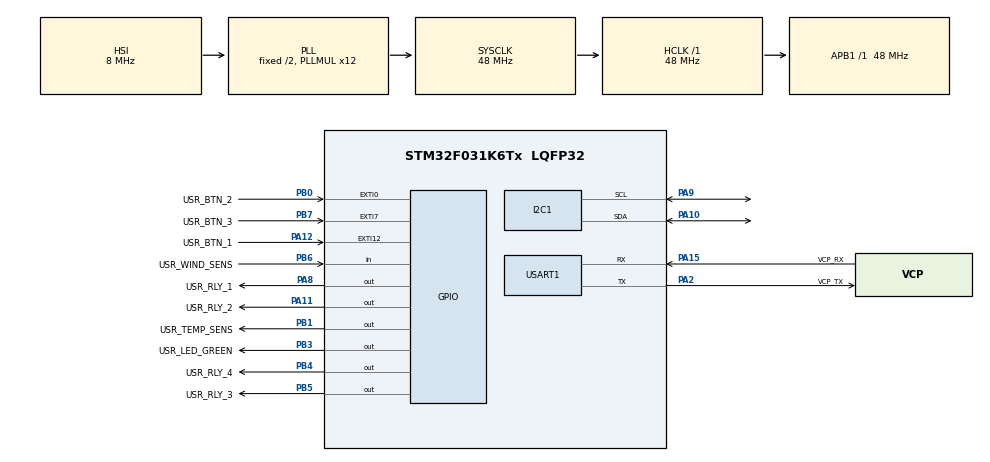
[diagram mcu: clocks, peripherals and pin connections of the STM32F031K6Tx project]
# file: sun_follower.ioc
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Mcu.Family=STM32F0
Mcu.Name=STM32F031K6Tx
Mcu.Package=LQFP32
NVIC.EXTI0_1_IRQn=true\:0\:0\:false\:false\:true\:true\:true\:true
NVIC.EXTI4_15_IRQn=true\:0\:0\:false\:false\:true\:true\:true\:true
NVIC.TIM16_IRQn=true\:0\:0\:false\:false\:true\:true\:true\:true
NVIC.TIM17_IRQn=true\:0\:0\:false\:false\:true\:true\:true\:true
NVIC.USART1_IRQn=true\:0\:0\:false\:false\:true\:true\:true\:true
PA10.Mode=I2C
PA10.Signal=I2C1_SDA
PA11.GPIO_Label=USR_RLY_2
PA11.Signal=GPIO_Output
PA12.GPIO_Label=USR_BTN_1
PA12.GPIO_ModeDefaultEXTI=GPIO_MODE_IT_RISING_FALLING
PA12.GPIO_PuPd=GPIO_PULLUP
PA12.Signal=GPXTI12
PA13.Mode=Serial_Wire
PA13.Signal=SYS_SWDIO
PA14.Mode=Serial_Wire
PA14.Signal=SYS_SWCLK
PA15.GPIO_Label=VCP_RX
PA15.Mode=Asynchronous
PA15.Signal=USART1_RX
PA2.GPIO_Label=VCP_TX
PA2.Mode=Asynchronous
PA2.Signal=USART1_TX
PA8.GPIO_Label=USR_RLY_1
PA8.GPIO_ModeDefaultOutputPP=GPIO_MODE_OUTPUT_PP
PA8.Signal=GPIO_Output
PA9.Mode=I2C
PA9.Signal=I2C1_SCL
PB0.GPIO_Label=USR_BTN_2
PB0.GPIO_ModeDefaultEXTI=GPIO_MODE_IT_RISING_FALLING
PB0.GPIO_PuPd=GPIO_PULLUP
PB0.Signal=GPXTI0
PB1.GPIO_Label=USR_TEMP_SENS
PB1.GPIO_PuPd=GPIO_PULLUP
PB1.GPIO_Speed=GPIO_SPEED_FREQ_HIGH
PB1.Signal=GPIO_Output
PB3.GPIO_Label=USR_LED_GREEN
PB3.Signal=GPIO_Output
PB4.GPIO_Label=USR_RLY_4
PB4.Signal=GPIO_Output
PB5.GPIO_Label=USR_RLY_3
PB5.Signal=GPIO_Output
PB6.GPIO_Label=USR_WIND_SENS
PB6.GPIO_PuPd=GPIO_PULLUP
PB6.Signal=GPIO_Input
PB7.GPIO_Label=USR_BTN_3
PB7.GPIO_ModeDefaultEXTI=GPIO_MODE_IT_RISING_FALLING
PB7.GPIO_PuPd=GPIO_PULLUP
PB7.Signal=GPXTI7
PF0-OSC_IN.Mode=HSE-External-Clock-Source
PF0-OSC_IN.Signal=RCC_OSC_IN
ProjectManager.HeapSize=0x200
ProjectManager.StackSize=0x400
ProjectManager.TargetToolchain=STM32CubeIDE
RCC.AHBFreq_Value=48000000
RCC.APB1Freq_Value=48000000
RCC.APB1TimFreq_Value=48000000
RCC.HCLKFreq_Value=48000000
RCC.PLLMUL=RCC_PLL_MUL12
RCC.SYSCLKFreq_VALUE=48000000
RCC.SYSCLKSource=RCC_SYSCLKSOURCE_PLLCLK
TIM16.Period=1000-1
TIM16.Prescaler=48000-1
TIM16.RepetitionCounter=0
TIM17.Period=60000-1
TIM17.Prescaler=48000-1
TIM17.RepetitionCounter=5-1
USART1.VirtualMode-Asynchronous=VM_ASYNC
VP_TIM16_VS_ClockSourceINT.Mode=Enable_Timer
VP_TIM17_VS_ClockSourceINT.Mode=Enable_Timer
board=NUCLEO-F031K6

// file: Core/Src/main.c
/* USER CODE BEGIN Header */
/**
 ******************************************************************************
 * @file           : main.c
 * @brief          : Main program body
 ******************************************************************************
 * @attention
 *
 * Copyright (c) 2023 STMicroelectronics.
 * All rights reserved.
 *
 * This software is licensed under terms that can be found in the LICENSE file
 * in the root directory of this software component.
 * If no LICENSE file comes with this software, it is provided AS-IS.
 *
 ******************************************************************************
 */
/* USER CODE END Header */
#include "main.h"

/* USER CODE BEGIN Includes */
#include <string.h>

#include "ds3231.h"
#include "gy271.h"
#include "itoa.h"
#include "sun_prediction.h"

/* USER CODE END Includes */

I2C_HandleTypeDef hi2c1;

TIM_HandleTypeDef htim16;
TIM_HandleTypeDef htim17;

UART_HandleTypeDef huart1;

/* USER CODE BEGIN PV */
ts ds3231_data;

/* USER CODE END PV */

void SystemClock_Config(void);
static void MX_GPIO_Init(void);
static void MX_I2C1_Init(void);
static void MX_USART1_UART_Init(void);
static void MX_TIM16_Init(void);
static void MX_TIM17_Init(void);

/* USER CODE BEGIN 0 */
uint8_t recvd_data;
int sun_angle;

/* USER CODE END 0 */

int main(void)
{

  /* MCU Configuration--------------------------------------------------------*/

  /* Reset of all peripherals, Initializes the Flash interface and the Systick. */
  HAL_Init();

  /* USER CODE BEGIN Init */
#ifdef SET_TIME_ENABLE
  ds3231_data.sec = SECONDS;
  ds3231_data.min = MINUTES;
  ds3231_data.hour = HOURS;
  ds3231_data.mday = DAYS;
  ds3231_data.mon = MONTHS;
  ds3231_data.year = YEARS;
#endif

  /* USER CODE END Init */

  /* Configure the system clock */
  SystemClock_Config();

  /* Initialize all configured peripherals */
  MX_GPIO_Init();
  MX_I2C1_Init();
  MX_USART1_UART_Init();
  MX_TIM16_Init();
  MX_TIM17_Init();
  /* USER CODE BEGIN 2 */
#ifdef SET_TIME_ENABLE
  Set_Time(ds3231_data, &hi2c1);
#endif
  Setup_Compass(&hi2c1);
  HAL_TIM_Base_Start_IT(&htim16);
  HAL_TIM_Base_Start_IT(&htim17);
  HAL_UART_Receive_IT(&huart1, &recvd_data, 1);
  //Compass_Data_Ready(&hi2c1);
  //Compass_x_read(&hi2c1);
  //Compass_y_read(&hi2c1);
  //Compass_z_read(&hi2c1);

  /* USER CODE END 2 */

  /* Infinite loop */
  while (1) {

  }
}

void SystemClock_Config(void)
{
  RCC_OscInitTypeDef RCC_OscInitStruct = {0};
  RCC_ClkInitTypeDef RCC_ClkInitStruct = {0};
  RCC_PeriphCLKInitTypeDef PeriphClkInit = {0};

  /** Initializes the RCC Oscillators according to the specified parameters
  * in the RCC_OscInitTypeDef structure.
  */
  RCC_OscInitStruct.OscillatorType = RCC_OSCILLATORTYPE_HSI;
  RCC_OscInitStruct.HSIState = RCC_HSI_ON;
  RCC_OscInitStruct.HSICalibrationValue = RCC_HSICALIBRATION_DEFAULT;
  RCC_OscInitStruct.PLL.PLLState = RCC_PLL_ON;
  RCC_OscInitStruct.PLL.PLLSource = RCC_PLLSOURCE_HSI;
  RCC_OscInitStruct.PLL.PLLMUL = RCC_PLL_MUL12;
  RCC_OscInitStruct.PLL.PREDIV = RCC_PREDIV_DIV1;
  if (HAL_RCC_OscConfig(&RCC_OscInitStruct) != HAL_OK)
  {
    Error_Handler();
  }

  /** Initializes the CPU, AHB and APB buses clocks
  */
  RCC_ClkInitStruct.ClockType = RCC_CLOCKTYPE_HCLK|RCC_CLOCKTYPE_SYSCLK
                              |RCC_CLOCKTYPE_PCLK1;
  RCC_ClkInitStruct.SYSCLKSource = RCC_SYSCLKSOURCE_PLLCLK;
  RCC_ClkInitStruct.AHBCLKDivider = RCC_SYSCLK_DIV1;
  RCC_ClkInitStruct.APB1CLKDivider = RCC_HCLK_DIV1;

  if (HAL_RCC_ClockConfig(&RCC_ClkInitStruct, FLASH_LATENCY_1) != HAL_OK)
  {
    Error_Handler();
  }
  PeriphClkInit.PeriphClockSelection = RCC_PERIPHCLK_USART1|RCC_PERIPHCLK_I2C1;
  PeriphClkInit.Usart1ClockSelection = RCC_USART1CLKSOURCE_PCLK1;
  PeriphClkInit.I2c1ClockSelection = RCC_I2C1CLKSOURCE_HSI;
  if (HAL_RCCEx_PeriphCLKConfig(&PeriphClkInit) != HAL_OK)
  {
    Error_Handler();
  }
}

static void MX_I2C1_Init(void)
{

  hi2c1.Instance = I2C1;
  hi2c1.Init.Timing = 0x2000090E;
  hi2c1.Init.OwnAddress1 = 0;
  hi2c1.Init.AddressingMode = I2C_ADDRESSINGMODE_7BIT;
  hi2c1.Init.DualAddressMode = I2C_DUALADDRESS_DISABLE;
  hi2c1.Init.OwnAddress2 = 0;
  hi2c1.Init.OwnAddress2Masks = I2C_OA2_NOMASK;
  hi2c1.Init.GeneralCallMode = I2C_GENERALCALL_DISABLE;
  hi2c1.Init.NoStretchMode = I2C_NOSTRETCH_DISABLE;
  if (HAL_I2C_Init(&hi2c1) != HAL_OK)
  {
    Error_Handler();
  }

  /** Configure Analogue filter
  */
  if (HAL_I2CEx_ConfigAnalogFilter(&hi2c1, I2C_ANALOGFILTER_ENABLE) != HAL_OK)
  {
    Error_Handler();
  }

  /** Configure Digital filter
  */
  if (HAL_I2CEx_ConfigDigitalFilter(&hi2c1, 0) != HAL_OK)
  {
    Error_Handler();
  }

}

static void MX_TIM16_Init(void)
{

  htim16.Instance = TIM16;
  htim16.Init.Prescaler = 48000-1;
  htim16.Init.CounterMode = TIM_COUNTERMODE_UP;
  htim16.Init.Period = 1000-1;
  htim16.Init.ClockDivision = TIM_CLOCKDIVISION_DIV1;
  htim16.Init.RepetitionCounter = 0;
  htim16.Init.AutoReloadPreload = TIM_AUTORELOAD_PRELOAD_DISABLE;
  if (HAL_TIM_Base_Init(&htim16) != HAL_OK)
  {
    Error_Handler();
  }

}

static void MX_TIM17_Init(void)
{

  htim17.Instance = TIM17;
  htim17.Init.Prescaler = 48000-1;
  htim17.Init.CounterMode = TIM_COUNTERMODE_UP;
  htim17.Init.Period = 60000-1;
  htim17.Init.ClockDivision = TIM_CLOCKDIVISION_DIV1;
  htim17.Init.RepetitionCounter = 5-1;
  htim17.Init.AutoReloadPreload = TIM_AUTORELOAD_PRELOAD_DISABLE;
  if (HAL_TIM_Base_Init(&htim17) != HAL_OK)
  {
    Error_Handler();
  }

}

static void MX_USART1_UART_Init(void)
{

  huart1.Instance = USART1;
  huart1.Init.BaudRate = 38400;
  huart1.Init.WordLength = UART_WORDLENGTH_8B;
  huart1.Init.StopBits = UART_STOPBITS_1;
  huart1.Init.Parity = UART_PARITY_NONE;
  huart1.Init.Mode = UART_MODE_TX_RX;
  huart1.Init.HwFlowCtl = UART_HWCONTROL_NONE;
  huart1.Init.OverSampling = UART_OVERSAMPLING_16;
  huart1.Init.OneBitSampling = UART_ONE_BIT_SAMPLE_DISABLE;
  huart1.AdvancedInit.AdvFeatureInit = UART_ADVFEATURE_NO_INIT;
  if (HAL_UART_Init(&huart1) != HAL_OK)
  {
    Error_Handler();
  }

}

static void MX_GPIO_Init(void)
{
  GPIO_InitTypeDef GPIO_InitStruct = {0};

  /* GPIO Ports Clock Enable */
  __HAL_RCC_GPIOF_CLK_ENABLE();
  __HAL_RCC_GPIOA_CLK_ENABLE();
  __HAL_RCC_GPIOB_CLK_ENABLE();

  /*Configure GPIO pin Output Level */
  HAL_GPIO_WritePin(GPIOB, USR_TEMP_SENS_Pin|USR_LED_GREEN_Pin|USR_RLY_4_Pin|USR_RLY_3_Pin, GPIO_PIN_RESET);

  /*Configure GPIO pin Output Level */
  HAL_GPIO_WritePin(GPIOA, USR_RLY_1_Pin|USR_RLY_2_Pin, GPIO_PIN_RESET);

  /*Configure GPIO pins : USR_BTN_2_Pin USR_BTN_3_Pin */
  GPIO_InitStruct.Pin = USR_BTN_2_Pin|USR_BTN_3_Pin;
  GPIO_InitStruct.Mode = GPIO_MODE_IT_RISING_FALLING;
  GPIO_InitStruct.Pull = GPIO_PULLUP;
  HAL_GPIO_Init(GPIOB, &GPIO_InitStruct);

  /*Configure GPIO pin : USR_TEMP_SENS_Pin */
  GPIO_InitStruct.Pin = USR_TEMP_SENS_Pin;
  GPIO_InitStruct.Mode = GPIO_MODE_OUTPUT_PP;
  GPIO_InitStruct.Pull = GPIO_PULLUP;
  GPIO_InitStruct.Speed = GPIO_SPEED_FREQ_HIGH;
  HAL_GPIO_Init(USR_TEMP_SENS_GPIO_Port, &GPIO_InitStruct);

  /*Configure GPIO pins : USR_RLY_1_Pin USR_RLY_2_Pin */
  GPIO_InitStruct.Pin = USR_RLY_1_Pin|USR_RLY_2_Pin;
  GPIO_InitStruct.Mode = GPIO_MODE_OUTPUT_PP;
  GPIO_InitStruct.Pull = GPIO_NOPULL;
  GPIO_InitStruct.Speed = GPIO_SPEED_FREQ_LOW;
  HAL_GPIO_Init(GPIOA, &GPIO_InitStruct);

  /*Configure GPIO pin : USR_BTN_1_Pin */
  GPIO_InitStruct.Pin = USR_BTN_1_Pin;
  GPIO_InitStruct.Mode = GPIO_MODE_IT_RISING_FALLING;
  GPIO_InitStruct.Pull = GPIO_PULLUP;
  HAL_GPIO_Init(USR_BTN_1_GPIO_Port, &GPIO_InitStruct);

  /*Configure GPIO pins : USR_LED_GREEN_Pin USR_RLY_4_Pin USR_RLY_3_Pin */
  GPIO_InitStruct.Pin = USR_LED_GREEN_Pin|USR_RLY_4_Pin|USR_RLY_3_Pin;
  GPIO_InitStruct.Mode = GPIO_MODE_OUTPUT_PP;
  GPIO_InitStruct.Pull = GPIO_NOPULL;
  GPIO_InitStruct.Speed = GPIO_SPEED_FREQ_LOW;
  HAL_GPIO_Init(GPIOB, &GPIO_InitStruct);

  /*Configure GPIO pin : USR_WIND_SENS_Pin */
  GPIO_InitStruct.Pin = USR_WIND_SENS_Pin;
  GPIO_InitStruct.Mode = GPIO_MODE_INPUT;
  GPIO_InitStruct.Pull = GPIO_PULLUP;
  HAL_GPIO_Init(USR_WIND_SENS_GPIO_Port, &GPIO_InitStruct);

  /* EXTI interrupt init*/
  HAL_NVIC_SetPriority(EXTI0_1_IRQn, 0, 0);
  HAL_NVIC_EnableIRQ(EXTI0_1_IRQn);

  HAL_NVIC_SetPriority(EXTI4_15_IRQn, 0, 0);
  HAL_NVIC_EnableIRQ(EXTI4_15_IRQn);

/* USER CODE BEGIN MX_GPIO_Init_2 */
  HAL_GPIO_WritePin(GPIOB, USR_RLY_4_Pin | USR_RLY_3_Pin, GPIO_PIN_SET);
  HAL_GPIO_WritePin(GPIOA, USR_RLY_1_Pin | USR_RLY_2_Pin, GPIO_PIN_SET);
/* USER CODE END MX_GPIO_Init_2 */
}

/* USER CODE BEGIN 4 */

void HAL_TIM_PeriodElapsedCallback(TIM_HandleTypeDef* htim) {
  if (htim == &htim16) {
    HAL_GPIO_TogglePin(GPIOB, USR_LED_GREEN_Pin);
    Get_Time(&ds3231_data, &hi2c1);
  }
  if (htim == &htim17) {
	HAL_UART_Transmit(&huart1, (uint8_t*)"five!\n\r", 7, 1000);
	sun_angle = sun_azimut(ds3231_data.year, ds3231_data.mon, ds3231_data.mday, ds3231_data.hour, ds3231_data.min);
  }
}

void HAL_GPIO_EXTI_Callback(uint16_t GPIO_Pin) {
  if (GPIO_Pin == USR_BTN_1_Pin) {
    switch (HAL_GPIO_ReadPin(USR_BTN_1_GPIO_Port, USR_BTN_1_Pin)) {
      case GPIO_PIN_RESET:
        HAL_GPIO_WritePin(GPIOA, USR_RLY_1_Pin, GPIO_PIN_RESET);
        break;
      case GPIO_PIN_SET:
        HAL_GPIO_WritePin(GPIOA, USR_RLY_1_Pin, GPIO_PIN_SET);
        break;
      default:
        break;
    }
  }
  if (GPIO_Pin == USR_BTN_2_Pin) {
    switch (HAL_GPIO_ReadPin(USR_BTN_2_GPIO_Port, USR_BTN_2_Pin)) {
      case GPIO_PIN_RESET:
        HAL_GPIO_WritePin(GPIOA, USR_RLY_2_Pin, GPIO_PIN_RESET);
        break;
      case GPIO_PIN_SET:
        HAL_GPIO_WritePin(GPIOA, USR_RLY_2_Pin, GPIO_PIN_SET);
        break;
      default:
        break;
    }
  }
}

void USART1_IRQHandler(void) {
  char msg[15];
  HAL_UART_IRQHandler(&huart1);

  switch (recvd_data) {
    case 'l':
      HAL_GPIO_TogglePin(GPIOB, USR_LED_GREEN_Pin);
      break;
    case 't':
      HAL_UART_Transmit(&huart1, (uint8_t*)"time:\n\r", 7, 1000);
      if (Get_Time(&ds3231_data, &hi2c1) == 0xFF) {
        HAL_UART_Transmit(&huart1, (uint8_t*)"error!\n\r", 8, 1000);
      } else {
        memset(msg, 0, 15);
        itoa(ds3231_data.hour, msg, 10);
        HAL_UART_Transmit(&huart1, (uint8_t*)msg, sizeof(msg), 1000);
        HAL_UART_Transmit(&huart1, (uint8_t*)":", 1, 1000);
        memset(msg, 0, 15);
        itoa(ds3231_data.min, msg, 10);
        HAL_UART_Transmit(&huart1, (uint8_t*)msg, sizeof(msg), 1000);
        HAL_UART_Transmit(&huart1, (uint8_t*)":", 1, 1000);
        memset(msg, 0, 15);
        itoa(ds3231_data.sec, msg, 10);
        HAL_UART_Transmit(&huart1, (uint8_t*)msg, sizeof(msg), 1000);
        HAL_UART_Transmit(&huart1, (uint8_t*)"\n\r", 2, 1000);
      }
      break;
    case 'd':
      HAL_UART_Transmit(&huart1, (uint8_t*)"date:\n\r", 7, 1000);
      if (Get_Time(&ds3231_data, &hi2c1) == 0xFF) {
        HAL_UART_Transmit(&huart1, (uint8_t*)"error!\n\r", 8, 1000);
      } else {
        memset(msg, 0, 15);
        itoa(ds3231_data.year, msg, 10);
        HAL_UART_Transmit(&huart1, (uint8_t*)msg, sizeof(msg), 1000);
        HAL_UART_Transmit(&huart1, (uint8_t*)"-", 1, 1000);
        memset(msg, 0, 15);
        itoa(ds3231_data.mon, msg, 10);
        HAL_UART_Transmit(&huart1, (uint8_t*)msg, sizeof(msg), 1000);
        HAL_UART_Transmit(&huart1, (uint8_t*)"-", 1, 1000);
        memset(msg, 0, 15);
        itoa(ds3231_data.mday, msg, 10);
        HAL_UART_Transmit(&huart1, (uint8_t*)msg, sizeof(msg), 1000);
        HAL_UART_Transmit(&huart1, (uint8_t*)"\n\r", 2, 1000);
      }
      break;
    case 's':
      HAL_UART_Transmit(&huart1, (uint8_t*)"sun angle:\n\r", 12, 1000);
      memset(msg, 0, 15);
      itoa(sun_angle, msg, 10);
      HAL_UART_Transmit(&huart1, (uint8_t*)msg, sizeof(msg), 1000);
      HAL_UART_Transmit(&huart1, (uint8_t*)"\n\r", 2, 1000);
      break;
    case 'x':
      if(Compass_Data_Ready(&hi2c1) == 1)
      {
    	memset(msg, 0, 15);
    	Read_Compass_Data(&hi2c1);
        itoa(Get_Compass_x_Vector(), msg, 10);
        HAL_UART_Transmit(&huart1, (uint8_t*)msg, sizeof(msg), 1000);
        HAL_UART_Transmit(&huart1, (uint8_t*)"\n\r", 2, 1000);
      }
      else
      {
    	HAL_UART_Transmit(&huart1, (uint8_t*)"E", sizeof("E"), 1000);
    	HAL_UART_Transmit(&huart1, (uint8_t*)"\n\r", 2, 1000);
      }
      break;
    case 'y':
      if(Compass_Data_Ready(&hi2c1) == 1)
      {
        memset(msg, 0, 15);
    	Read_Compass_Data(&hi2c1);
    	itoa(Get_Compass_y_Vector(), msg, 10);
    	HAL_UART_Transmit(&huart1, (uint8_t*)msg, sizeof(msg), 1000);
    	HAL_UART_Transmit(&huart1, (uint8_t*)"\n\r", 2, 1000);
      }
      else
      {
        HAL_UART_Transmit(&huart1, (uint8_t*)"E", sizeof("E"), 1000);
        HAL_UART_Transmit(&huart1, (uint8_t*)"\n\r", 2, 1000);
      }
      break;
    case 'z':
      if(Compass_Data_Ready(&hi2c1) == 1)
      {
        memset(msg, 0, 15);
    	Read_Compass_Data(&hi2c1);
    	itoa(Get_Compass_z_Vector(), msg, 10);
    	HAL_UART_Transmit(&huart1, (uint8_t*)msg, sizeof(msg), 1000);
    	HAL_UART_Transmit(&huart1, (uint8_t*)"\n\r", 2, 1000);
      }
      else
      {
        HAL_UART_Transmit(&huart1, (uint8_t*)"E", sizeof("E"), 1000);
        HAL_UART_Transmit(&huart1, (uint8_t*)"\n\r", 2, 1000);
      }
      break;
    case '1':
      HAL_GPIO_TogglePin(GPIOA, USR_RLY_1_Pin);
      break;
    case '2':
      HAL_GPIO_TogglePin(GPIOA, USR_RLY_2_Pin);
      break;
    case '3':
      HAL_GPIO_TogglePin(GPIOB, USR_RLY_3_Pin);
      break;
    case '4':
      HAL_GPIO_TogglePin(GPIOB, USR_RLY_4_Pin);
      break;
    default:
      break;
  }

  HAL_UART_Receive_IT(&huart1, &recvd_data, 1);
}

/* USER CODE END 4 */

void Error_Handler(void)
{
  __disable_irq();
  while (1) {
  }
}

#ifdef  USE_FULL_ASSERT
/**
  * @brief  Reports the name of the source file and the source line number
  *         where the assert_param error has occurred.
  * @param  file: pointer to the source file name
  * @param  line: assert_param error line source number
  * @retval None
  */
void assert_failed(uint8_t *file, uint32_t line)
{
  /* USER CODE BEGIN 6 */
  /* User can add his own implementation to report the file name and line
     number, ex: printf("Wrong parameters value: file %s on line %d\r\n", file,
     line) */
  /* USER CODE END 6 */
}
#endif /* USE_FULL_ASSERT */
